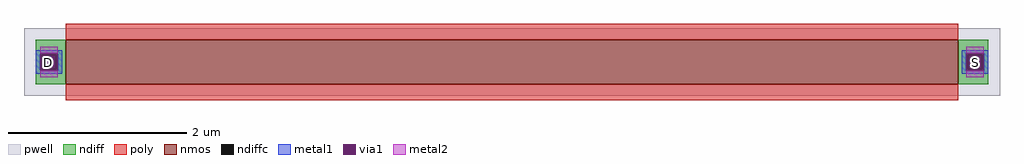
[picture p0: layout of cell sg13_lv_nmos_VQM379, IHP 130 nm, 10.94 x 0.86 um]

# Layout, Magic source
magic
tech ihp-sg13g2
<< pwell >>
rect -547 -38 547 38
<< nmos >>
rect -500 -25 500 25
<< ndiff >>
rect -534 8 -500 25
rect -534 -8 -527 8
rect -511 -8 -500 8
rect -534 -25 -500 -8
rect 500 8 534 25
rect 500 -8 511 8
rect 527 -8 534 8
rect 500 -25 534 -8
<< ndiffc >>
rect -527 -8 -511 8
rect 511 -8 527 8
<< poly >>
rect -500 25 500 43
rect -500 -43 500 -25
<< metal1 >>
rect -534 10 -504 13
rect -534 -10 -529 10
rect -509 -10 -504 10
rect -534 -13 -504 -10
rect 504 10 534 13
rect 504 -10 509 10
rect 529 -10 534 10
rect 504 -13 534 -10
<< via1 >>
rect -529 8 -509 10
rect -529 -8 -527 8
rect -527 -8 -511 8
rect -511 -8 -509 8
rect -529 -10 -509 -8
rect 509 8 529 10
rect 509 -8 511 8
rect 511 -8 527 8
rect 527 -8 529 8
rect 509 -10 529 -8
<< metal2 >>
rect -529 10 -509 17
rect -529 -17 -509 -10
rect 509 10 529 17
rect 509 -17 529 -10
<< labels >>
rlabel metal1 s -519 0 -519 0 4 D
rlabel metal1 s 519 0 519 0 4 S
<< end >>
